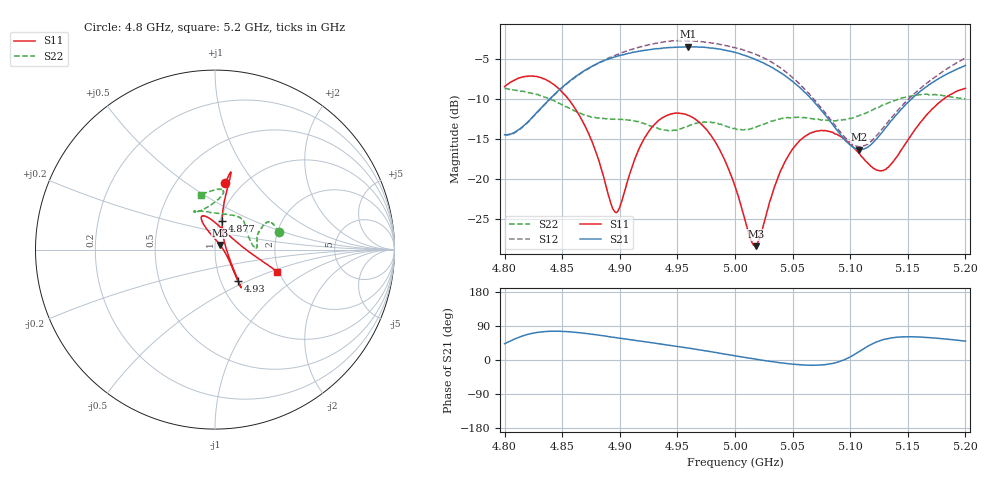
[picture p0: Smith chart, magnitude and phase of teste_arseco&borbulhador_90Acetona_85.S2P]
! Network Analyzer HP8722D
! Hewlett-Packard
! Data name: Linha & Wilkinson
! Saver's name: Rodrigo Anjos
! Comments: Teste da utilização de aquisição
! continua pelo VNA HP8722D
! Time and date: 17/4/2025 11:45
!  Frequency  S11  S21  S12  S22
# HZ  S  MA R 50
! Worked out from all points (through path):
!   401 points, 4.8 GHz to 5.2 GHz, reference 50 ohm
!   highest |S21| = -3.46 dB at 4.959 GHz (marker M1); lowest = -16.4 dB at 5.108 GHz (marker M2)
!   lowest |S11| = -28.4 dB at 5.018 GHz (marker M3), VSWR 1.08, Z = 52.8 + j2.69 ohm
!   |S11| at or under -10 dB: 4.855 GHz to 5.181 GHz (326 MHz wide, 6.5 % of centre)
!   |S22| runs from -14.0 to -8.7 dB; largest |S21 - S12| = 0.24
!   S11 on the Smith chart (normalised r, x): 4.8 GHz: 0.83, +0.72; 4.877 GHz: 1.03, +0.33; 4.93 GHz: 1.21, -0.45; 5.2 GHz: 1.96, -0.56
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4.8e9  0.3778 81.5  0.1889 42.9  0.1883 3.5  0.3673 15.3
4.835e9  0.4205 78.1  0.2942 75.0  0.2924 38.8  0.3238 27.7
4.867e9  0.2337 78.9  0.4648 71.2  0.461 41.3  0.2548 19.9
4.877e9  0.1629 75.8  0.5106 67.4  0.5107 40.3  0.2449 15.4
4.892e9  0.07088 44.2  0.5674 61.1  0.5767 38.1  0.2368 8.8
4.897e9  0.06145 13.2  0.5827 58.7  0.5988 37.2  0.2363 6.6
4.916e9  0.1502 -46.6  0.6287 50.5  0.665 33.1  0.2287 2.6
4.93e9  0.2186 -53.3  0.6498 44.6  0.7019 28.8  0.2099 7.4
4.934e9  0.2329 -54.4  0.6536 42.8  0.7139 27.7  0.2048 10.7
4.959e9  0.2499 -55.4  0.6711 31.8  0.7336 18.1  0.2126 36.9
4.981e9  0.1783 -51.1  0.6588 20.9  0.7072 9.8  0.2243 53.4
5e9  0.08974 -34.3  0.6191 11.1  0.6646 2.8  0.2071 73.8
5.013e9  0.04266 7.5  0.576 4.7  0.6204 -2.0  0.2052 91.6
5.018e9  0.03786 42.2  0.5572 2.2  0.6016 -3.8  0.2098 97.9
5.042e9  0.1221 111.8  0.4499 -8.3  0.4796 -11.8  0.2401 115.8
5.067e9  0.1951 113.0  0.3128 -13.8  0.3243 -13.6  0.2376 118.4
5.087e9  0.1911 105.5  0.2084 -7.5  0.2155 -3.4  0.2309 110.1
5.108e9  0.1436 85.9  0.152 22.6  0.1589 29.7  0.2495 95.8
5.123e9  0.1133 55.4  0.178 47.9  0.1869 56.6  0.2764 87.2
5.134e9  0.1202 26.2  0.2228 57.2  0.2326 67.6  0.3005 82.9
5.17e9  0.268 -13.4  0.3941 58.8  0.4156 76.4  0.3369 85.7
5.2e9  0.3685 -19.5  0.5125 49.8  0.5698 73.5  0.3151 104.0
